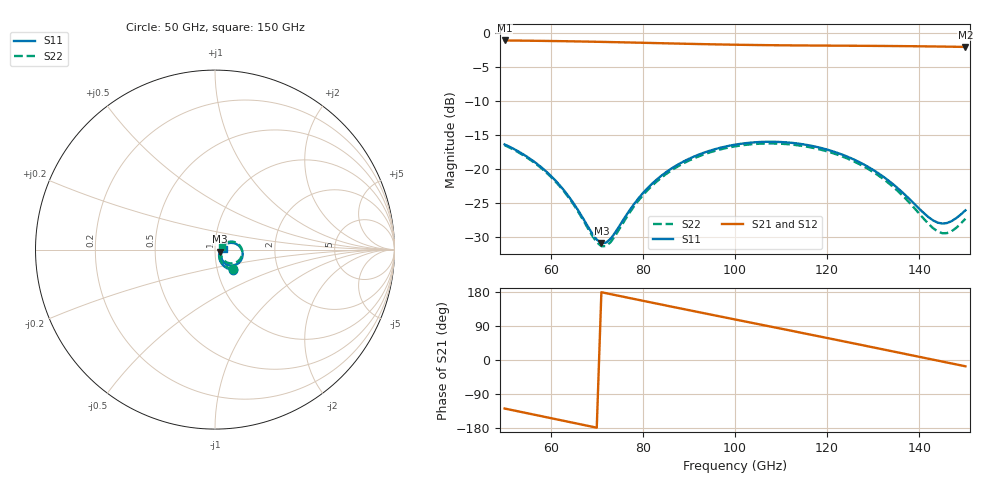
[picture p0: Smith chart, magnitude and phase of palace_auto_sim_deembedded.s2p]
! Created with skrf 1.11.0 (http://scikit-rf.org).
# GHz S DB R 50.0
!freq dBS11 angS11 dBS21 angS21 dBS12 angS12 dBS22 angS22
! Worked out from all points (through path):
!   101 points, 50 GHz to 150 GHz, reference 50 ohm
!   highest |S21| = -1.14 dB at 50 GHz (marker M1); lowest = -2.1 dB at 150 GHz (marker M2)
!   group delay of S21, straight-line fit = 6.88 ps
!   lowest |S11| = -30.9 dB at 71 GHz (marker M3), VSWR 1.06, Z = 52.7 - j1.22 ohm
!   |S11| at or under -10 dB: start of sweep to end of sweep
!   |S22| runs from -31.4 to -16.3 dB; largest |S21 - S12| = 9.3e-14
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50  -16.42 -48.7  -1.14 -128.1  -1.14 -128.1  -16.54 -46.4
55  -18.30 -57.6  -1.17 -140.7  -1.17 -140.7  -18.43 -55.0
60  -21.02 -64.0  -1.22 -153.3  -1.22 -153.3  -21.17 -61.4
64  -24.16 -64.7  -1.26 -163.4  -1.26 -163.4  -24.32 -62.1
67  -27.27 -57.9  -1.29 -171.0  -1.29 -171.0  -27.49 -55.6
69  -29.52 -45.6  -1.32 -176.1  -1.32 -176.1  -29.83 -43.4
71  -30.93 -24.0  -1.35 178.9  -1.35 178.9  -31.39 -21.3
72  -30.88 -11.4  -1.36 176.4  -1.36 176.4  -31.38 -8.1
73  -30.31 -0.1  -1.37 173.8  -1.37 173.8  -30.80 3.8
79  -24.40 26.2  -1.46 158.8  -1.46 158.8  -24.72 31.2
84  -21.04 24.5  -1.54 146.4  -1.54 146.4  -21.32 29.8
92  -17.96 13.0  -1.66 126.6  -1.66 126.6  -18.21 18.5
100  -16.46 -1.6  -1.76 107.0  -1.76 107.0  -16.71 4.3
108  -16.04 -16.8  -1.83 87.5  -1.83 87.5  -16.29 -10.7
112  -16.17 -24.5  -1.86 77.7  -1.86 77.7  -16.43 -18.2
117  -16.69 -33.8  -1.88 65.5  -1.88 65.5  -16.95 -27.5
126  -18.71 -48.7  -1.92 43.2  -1.92 43.2  -18.99 -42.5
134  -22.11 -55.8  -1.95 23.3  -1.95 23.3  -22.49 -50.5
139  -25.22 -50.9  -1.99 10.8  -1.99 10.8  -25.84 -46.7
144  -27.93 -28.1  -2.03 -1.6  -2.03 -1.6  -29.23 -22.9
147  -27.71 -8.2  -2.06 -9.1  -2.06 -9.1  -29.19 0.7
150  -26.12 5.9  -2.09 -16.6  -2.09 -16.6  -27.36 17.5
